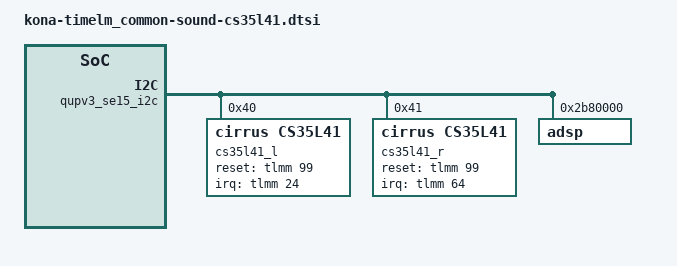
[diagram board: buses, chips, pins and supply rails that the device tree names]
/*
 * Copyright (c) 2018, The Linux Foundation. All rights reserved.
 *
 * This program is free software; you can redistribute it and/or modify
 * it under the terms of the GNU General Public License version 2 and
 * only version 2 as published by the Free Software Foundation.
 *
 * This program is distributed in the hope that it will be useful,
 * but WITHOUT ANY WARRANTY; without even the implied warranty of
 * MERCHANTABILITY or FITNESS FOR A PARTICULAR PURPOSE.  See the
 * GNU General Public License for more details.
 */
&tlmm {
	cs35l41_l_int {
		cs35l41_l_int_default: cs35l41_l_int_default {
			mux {
				pins = "gpio24";
				function = "gpio";
			};

			config {
				pins = "gpio24";
				drive-strength = <2>; /* 2 mA */
				bias-pull-up;
				input-enable;
			};
		};
	};
	cs35l41_r_int {
		cs35l41_r_int_default: cs35l41_r_int_default {
			mux {
				pins = "gpio64";
				function = "gpio";
			};

			config {
				pins = "gpio64";
				drive-strength = <2>; /* 2 mA */
				bias-pull-up;
				input-enable;
			};
		};
	};
	cs35l41_reset {
		cs35l41_reset_default: cs35l41_reset_default {
			mux {
				pins = "gpio99";
				function = "gpio";
			};

			config {
				pins = "gpio99";
				drive-strength = <2>;
				bias-pull-down;
				output-high;
			};
		};
	};
};
&qupv3_se15_i2c { /* QUPV3 SE4  */
	status = "ok";

	cs35l41_l: cs35l41@40 {
		#sound-dai-cells = <1>;
		compatible = "cirrus,cs35l41";
		status = "ok";
		reg = <0x40>;
		pinctrl-names = "default";
		pinctrl-0 = <&cs35l41_l_int_default>,<&cs35l41_reset_default>;

		interrupt-parent = <&tlmm>;
		interrupts = <24 IRQ_TYPE_LEVEL_LOW>;
		reset-gpios = <&tlmm 99 0x0>;

//		VA-supply = <&S4A>;

		cirrus,boost-peak-milliamp = <4500>;
		cirrus,boost-ind-nanohenry = <1000>;
		cirrus,boost-cap-microfarad = <15>;

		cirrus,gpio-config2 {
			cirrus,gpio-src-select = <0x4>;
			cirrus,gpio-output-enable;
		};
	};

	cs35l41_r: cs35l41@41 {
		#sound-dai-cells = <1>;
		compatible = "cirrus,cs35l41";
		reg = <0x41>;
		pinctrl-names = "default";
		pinctrl-0 = <&cs35l41_r_int_default>;

		interrupt-parent = <&tlmm>;
		interrupts = <64 IRQ_TYPE_LEVEL_LOW>;
		reset-gpios = <&tlmm 99 0x0>;

//		VA-supply = <&S4A>;

		cirrus,right-channel-amp;
		cirrus,boost-peak-milliamp = <4500>;
		cirrus,boost-ind-nanohenry = <1000>;
		cirrus,boost-cap-microfarad = <15>;

		cirrus,gpio-config2 {
			cirrus,gpio-src-select = <0x4>;
			cirrus,gpio-output-enable;
		};
	};

	adsps {
           #address-cells = <1>;
           #size-cells = <0>;
   
               adsp@2b80000 {
                   reg = <0x2b80000>;
                   firmware {
  
                        Calibration {
                        cirrus,wmfw-file = "prot";
                        cirrus,bin-file = "cal";
                        };
  
                        Playback {
                        cirrus,wmfw-file = "prot";
                        cirrus,bin-file = "prot";
                       };
   
                   };
               };
           };

};
